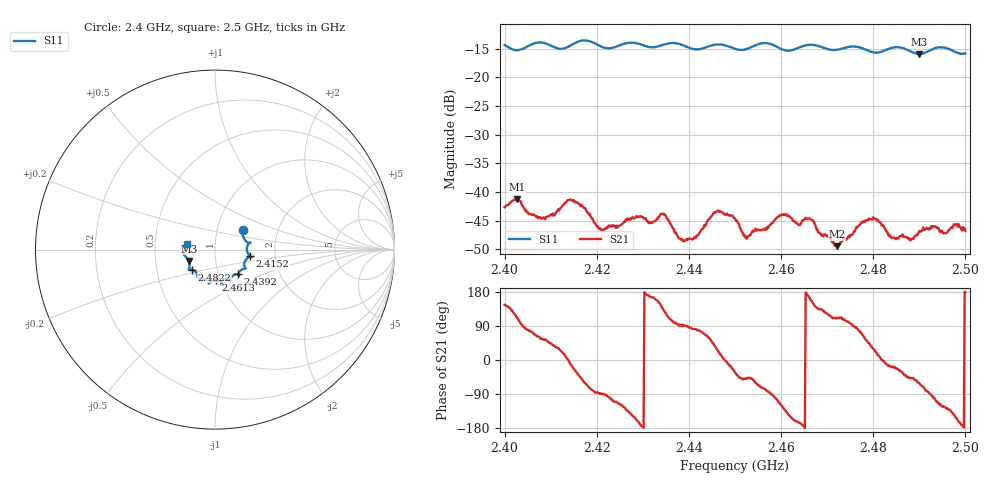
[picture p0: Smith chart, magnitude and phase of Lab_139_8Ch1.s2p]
# Hz S RI R 50
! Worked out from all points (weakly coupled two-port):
!   601 points, 2.4 GHz to 2.5 GHz, reference 50 ohm
!   highest |S21| = -41.20 dB at 2.4027 GHz (marker M1); lowest = -49.4 dB at 2.4722 GHz (marker M2)
!   lowest |S11| = -15.9 dB at 2.49 GHz (marker M3), VSWR 1.38, Z = 36.9 - j4.86 ohm
!   |S11| at or under -10 dB: start of sweep to end of sweep
!   S12 and S22 are empty: the file has one direction only
!   S11 on the Smith chart (normalised r, x): 2.4 GHz: 1.33, +0.31; 2.4152 GHz: 1.48, -0.11; 2.4392 GHz: 1.24, -0.35; 2.4613 GHz: 0.96, -0.34; 2.4822 GHz: 0.76, -0.17; 2.5 GHz: 0.72, +0.05
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2.4e9  0.1561 0.1109  -0.00611 0.00418  0 0  0 0
2.402667e9  0.1592 0.0666  -0.00326 0.00807  0 0  0 0
2.408333e9  0.1968 0.0393  0.00347 0.00484  0 0  0 0
2.415167e9  0.195 -0.036  0.00737 -0.0035  0 0  0 0
2.416667e9  0.2049 -0.0421  0.00504 -0.00581  0 0  0 0
2.421e9  0.1788 -0.0492  5.84e-05 -0.00474  0 0  0 0
2.433333e9  0.132 -0.1319  -0.00543 0.0027  0 0  0 0
2.434667e9  0.1313 -0.1424  -0.00394 0.00496  0 0  0 0
2.439167e9  0.127 -0.1376  -2.93e-05 0.00378  0 0  0 0
2.445833e9  0.0856 -0.1735  0.00564 0.00361  0 0  0 0
2.45e9  0.069 -0.1638  0.00498 -0.0032  0 0  0 0
2.452667e9  0.0409 -0.1727  0.00273 -0.00298  0 0  0 0
2.456667e9  0.0389 -0.1954  0.000952 -0.0046  0 0  0 0
2.461333e9  0.00696 -0.1708  -0.0048 -0.00418  0 0  0 0
2.463667e9  -0.0246 -0.179  -0.00505 -0.00147  0 0  0 0
2.466667e9  -0.0338 -0.1895  -0.00521 0.0024  0 0  0 0
2.472167e9  -0.0675 -0.1607  -0.00118 0.00317  0 0  0 0
2.478833e9  -0.0997 -0.1395  0.00396 0.00413  0 0  0 0
2.482167e9  -0.1278 -0.1117  0.00507 -0.000128  0 0  0 0
2.483333e9  -0.139 -0.1101  0.00404 -0.00101  0 0  0 0
2.49e9  -0.1465 -0.0641  0.0022 -0.00402  0 0  0 0
2.5e9  -0.1586 0.0335  -0.00458 0.000127  0 0  0 0
